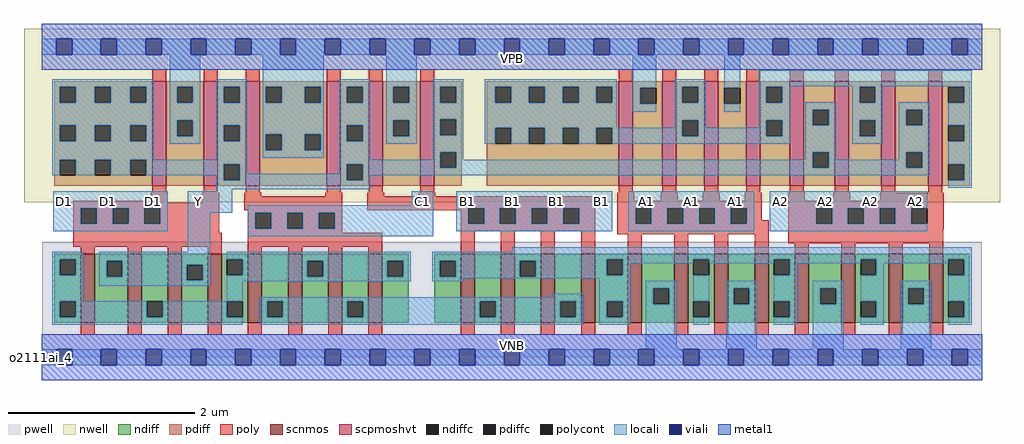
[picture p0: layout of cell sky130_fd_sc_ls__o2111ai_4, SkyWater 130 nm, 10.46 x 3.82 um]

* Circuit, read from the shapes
.subckt sky130_fd_sc_ls__o2111ai_4 A1 A2 B1 C1 D1 VGND VNB VPB VPWR Y
XM1 Y D1 n1 VNB sky130_fd_pr__nfet_01v8 w=0.74 l=0.15 m=4
XM2 n2 C1 n1 VNB sky130_fd_pr__nfet_01v8 w=0.74 l=0.15 m=4
XM3 n2 B1 n3 VNB sky130_fd_pr__nfet_01v8 w=0.74 l=0.15 m=4
XM4 VGND A1 n3 VNB sky130_fd_pr__nfet_01v8 w=0.74 l=0.15 m=4
XM5 VGND A2 n3 VNB sky130_fd_pr__nfet_01v8 w=0.74 l=0.15 m=4
XM6 VPWR D1 Y VPB sky130_fd_pr__pfet_01v8_hvt w=1.12 l=0.15 m=2
XM7 VPWR C1 Y VPB sky130_fd_pr__pfet_01v8_hvt w=1.12 l=0.15 m=2
XM8 VPWR B1 Y VPB sky130_fd_pr__pfet_01v8_hvt w=1.12 l=0.15 m=2
XM9 VPWR A1 n4 VPB sky130_fd_pr__pfet_01v8_hvt w=1.12 l=0.15 m=4
XM10 Y A2 n4 VPB sky130_fd_pr__pfet_01v8_hvt w=1.12 l=0.15 m=4
.ends

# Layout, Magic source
magic
tech sky130A
magscale 1 2
<< nwell >>
rect -38 332 2054 704
<< pwell >>
rect 1 49 2015 248
rect 0 0 2016 49
<< scnmos >>
rect 84 74 114 222
rect 184 74 214 222
rect 270 74 300 222
rect 356 74 386 222
rect 442 74 472 222
rect 528 74 558 222
rect 614 74 644 222
rect 700 74 730 222
rect 898 74 928 222
rect 984 74 1014 222
rect 1070 74 1100 222
rect 1156 74 1186 222
rect 1256 74 1286 222
rect 1356 74 1386 222
rect 1442 74 1472 222
rect 1528 74 1558 222
rect 1614 74 1644 222
rect 1714 74 1744 222
rect 1816 74 1846 222
rect 1902 74 1932 222
<< scpmoshvt >>
rect 237 368 267 592
rect 347 368 377 592
rect 437 368 467 592
rect 611 368 641 592
rect 701 368 731 592
rect 811 368 841 592
rect 1237 368 1267 592
rect 1330 368 1360 592
rect 1420 368 1450 592
rect 1510 368 1540 592
rect 1603 368 1633 592
rect 1700 368 1730 592
rect 1800 368 1830 592
rect 1900 368 1930 592
<< ndiff >>
rect 27 210 84 222
rect 27 176 39 210
rect 73 176 84 210
rect 27 120 84 176
rect 27 86 39 120
rect 73 86 84 120
rect 27 74 84 86
rect 114 207 184 222
rect 114 173 139 207
rect 173 173 184 207
rect 114 74 184 173
rect 214 120 270 222
rect 214 86 225 120
rect 259 86 270 120
rect 214 74 270 86
rect 300 199 356 222
rect 300 165 311 199
rect 345 165 356 199
rect 300 74 356 165
rect 386 210 442 222
rect 386 176 397 210
rect 431 176 442 210
rect 386 120 442 176
rect 386 86 397 120
rect 431 86 442 120
rect 386 74 442 86
rect 472 120 528 222
rect 472 86 483 120
rect 517 86 528 120
rect 472 74 528 86
rect 558 207 614 222
rect 558 173 569 207
rect 603 173 614 207
rect 558 74 614 173
rect 644 120 700 222
rect 644 86 655 120
rect 689 86 700 120
rect 644 74 700 86
rect 730 207 787 222
rect 730 173 741 207
rect 775 173 787 207
rect 730 74 787 173
rect 841 207 898 222
rect 841 173 853 207
rect 887 173 898 207
rect 841 74 898 173
rect 928 120 984 222
rect 928 86 939 120
rect 973 86 984 120
rect 928 74 984 86
rect 1014 207 1070 222
rect 1014 173 1025 207
rect 1059 173 1070 207
rect 1014 74 1070 173
rect 1100 120 1156 222
rect 1100 86 1111 120
rect 1145 86 1156 120
rect 1100 74 1156 86
rect 1186 210 1256 222
rect 1186 176 1211 210
rect 1245 176 1256 210
rect 1186 120 1256 176
rect 1186 86 1211 120
rect 1245 86 1256 120
rect 1186 74 1256 86
rect 1286 148 1356 222
rect 1286 114 1311 148
rect 1345 114 1356 148
rect 1286 74 1356 114
rect 1386 210 1442 222
rect 1386 176 1397 210
rect 1431 176 1442 210
rect 1386 120 1442 176
rect 1386 86 1397 120
rect 1431 86 1442 120
rect 1386 74 1442 86
rect 1472 148 1528 222
rect 1472 114 1483 148
rect 1517 114 1528 148
rect 1472 74 1528 114
rect 1558 210 1614 222
rect 1558 176 1569 210
rect 1603 176 1614 210
rect 1558 120 1614 176
rect 1558 86 1569 120
rect 1603 86 1614 120
rect 1558 74 1614 86
rect 1644 148 1714 222
rect 1644 114 1669 148
rect 1703 114 1714 148
rect 1644 74 1714 114
rect 1744 210 1816 222
rect 1744 176 1755 210
rect 1789 176 1816 210
rect 1744 120 1816 176
rect 1744 86 1755 120
rect 1789 86 1816 120
rect 1744 74 1816 86
rect 1846 148 1902 222
rect 1846 114 1857 148
rect 1891 114 1902 148
rect 1846 74 1902 114
rect 1932 210 1989 222
rect 1932 176 1943 210
rect 1977 176 1989 210
rect 1932 120 1989 176
rect 1932 86 1943 120
rect 1977 86 1989 120
rect 1932 74 1989 86
<< pdiff >>
rect 27 580 237 592
rect 27 546 39 580
rect 73 546 114 580
rect 148 546 190 580
rect 224 546 237 580
rect 27 497 237 546
rect 27 463 39 497
rect 73 463 114 497
rect 148 463 190 497
rect 224 463 237 497
rect 27 424 237 463
rect 27 390 39 424
rect 73 390 114 424
rect 148 390 190 424
rect 224 390 237 424
rect 27 368 237 390
rect 267 580 347 592
rect 267 546 290 580
rect 324 546 347 580
rect 267 508 347 546
rect 267 474 290 508
rect 324 474 347 508
rect 267 368 347 474
rect 377 580 437 592
rect 377 546 390 580
rect 424 546 437 580
rect 377 497 437 546
rect 377 463 390 497
rect 424 463 437 497
rect 377 414 437 463
rect 377 380 390 414
rect 424 380 437 414
rect 377 368 437 380
rect 467 580 611 592
rect 467 546 480 580
rect 514 546 564 580
rect 598 546 611 580
rect 467 478 611 546
rect 467 444 480 478
rect 514 444 564 478
rect 598 444 611 478
rect 467 368 611 444
rect 641 580 701 592
rect 641 546 654 580
rect 688 546 701 580
rect 641 497 701 546
rect 641 463 654 497
rect 688 463 701 497
rect 641 414 701 463
rect 641 380 654 414
rect 688 380 701 414
rect 641 368 701 380
rect 731 580 811 592
rect 731 546 754 580
rect 788 546 811 580
rect 731 508 811 546
rect 731 474 754 508
rect 788 474 811 508
rect 731 368 811 474
rect 841 580 900 592
rect 841 546 854 580
rect 888 546 900 580
rect 841 510 900 546
rect 841 476 854 510
rect 888 476 900 510
rect 841 440 900 476
rect 841 406 854 440
rect 888 406 900 440
rect 841 368 900 406
rect 954 580 1237 592
rect 954 546 972 580
rect 1006 546 1044 580
rect 1078 546 1117 580
rect 1151 546 1189 580
rect 1223 546 1237 580
rect 954 492 1237 546
rect 954 458 972 492
rect 1006 458 1044 492
rect 1078 458 1117 492
rect 1151 458 1189 492
rect 1223 458 1237 492
rect 954 368 1237 458
rect 1267 578 1330 592
rect 1267 544 1283 578
rect 1317 544 1330 578
rect 1267 368 1330 544
rect 1360 580 1420 592
rect 1360 546 1373 580
rect 1407 546 1420 580
rect 1360 508 1420 546
rect 1360 474 1373 508
rect 1407 474 1420 508
rect 1360 368 1420 474
rect 1450 578 1510 592
rect 1450 544 1463 578
rect 1497 544 1510 578
rect 1450 368 1510 544
rect 1540 580 1603 592
rect 1540 546 1553 580
rect 1587 546 1603 580
rect 1540 508 1603 546
rect 1540 474 1553 508
rect 1587 474 1603 508
rect 1540 368 1603 474
rect 1633 531 1700 592
rect 1633 497 1653 531
rect 1687 497 1700 531
rect 1633 440 1700 497
rect 1633 406 1653 440
rect 1687 406 1700 440
rect 1633 368 1700 406
rect 1730 580 1800 592
rect 1730 546 1753 580
rect 1787 546 1800 580
rect 1730 508 1800 546
rect 1730 474 1753 508
rect 1787 474 1800 508
rect 1730 368 1800 474
rect 1830 531 1900 592
rect 1830 497 1853 531
rect 1887 497 1900 531
rect 1830 440 1900 497
rect 1830 406 1853 440
rect 1887 406 1900 440
rect 1830 368 1900 406
rect 1930 580 1989 592
rect 1930 546 1943 580
rect 1977 546 1989 580
rect 1930 497 1989 546
rect 1930 463 1943 497
rect 1977 463 1989 497
rect 1930 414 1989 463
rect 1930 380 1943 414
rect 1977 380 1989 414
rect 1930 368 1989 380
<< ndiffc >>
rect 39 176 73 210
rect 39 86 73 120
rect 139 173 173 207
rect 225 86 259 120
rect 311 165 345 199
rect 397 176 431 210
rect 397 86 431 120
rect 483 86 517 120
rect 569 173 603 207
rect 655 86 689 120
rect 741 173 775 207
rect 853 173 887 207
rect 939 86 973 120
rect 1025 173 1059 207
rect 1111 86 1145 120
rect 1211 176 1245 210
rect 1211 86 1245 120
rect 1311 114 1345 148
rect 1397 176 1431 210
rect 1397 86 1431 120
rect 1483 114 1517 148
rect 1569 176 1603 210
rect 1569 86 1603 120
rect 1669 114 1703 148
rect 1755 176 1789 210
rect 1755 86 1789 120
rect 1857 114 1891 148
rect 1943 176 1977 210
rect 1943 86 1977 120
<< pdiffc >>
rect 39 546 73 580
rect 114 546 148 580
rect 190 546 224 580
rect 39 463 73 497
rect 114 463 148 497
rect 190 463 224 497
rect 39 390 73 424
rect 114 390 148 424
rect 190 390 224 424
rect 290 546 324 580
rect 290 474 324 508
rect 390 546 424 580
rect 390 463 424 497
rect 390 380 424 414
rect 480 546 514 580
rect 564 546 598 580
rect 480 444 514 478
rect 564 444 598 478
rect 654 546 688 580
rect 654 463 688 497
rect 654 380 688 414
rect 754 546 788 580
rect 754 474 788 508
rect 854 546 888 580
rect 854 476 888 510
rect 854 406 888 440
rect 972 546 1006 580
rect 1044 546 1078 580
rect 1117 546 1151 580
rect 1189 546 1223 580
rect 972 458 1006 492
rect 1044 458 1078 492
rect 1117 458 1151 492
rect 1189 458 1223 492
rect 1283 544 1317 578
rect 1373 546 1407 580
rect 1373 474 1407 508
rect 1463 544 1497 578
rect 1553 546 1587 580
rect 1553 474 1587 508
rect 1653 497 1687 531
rect 1653 406 1687 440
rect 1753 546 1787 580
rect 1753 474 1787 508
rect 1853 497 1887 531
rect 1853 406 1887 440
rect 1943 546 1977 580
rect 1943 463 1977 497
rect 1943 380 1977 414
<< poly >>
rect 237 592 267 618
rect 347 592 377 618
rect 437 592 467 618
rect 611 592 641 618
rect 701 592 731 618
rect 811 592 841 618
rect 1237 592 1267 618
rect 1330 592 1360 618
rect 1420 592 1450 618
rect 1510 592 1540 618
rect 1603 592 1633 618
rect 1700 592 1730 618
rect 1800 592 1830 618
rect 1900 592 1930 618
rect 237 353 267 368
rect 347 353 377 368
rect 437 353 467 368
rect 611 353 641 368
rect 701 353 731 368
rect 811 353 841 368
rect 1237 353 1267 368
rect 1330 353 1360 368
rect 1420 353 1450 368
rect 1510 353 1540 368
rect 1603 353 1633 368
rect 1700 353 1730 368
rect 1800 353 1830 368
rect 1900 353 1930 368
rect 234 336 270 353
rect 68 331 270 336
rect 344 331 380 353
rect 68 320 380 331
rect 68 286 84 320
rect 118 286 152 320
rect 186 286 220 320
rect 254 286 380 320
rect 434 345 470 353
rect 608 345 644 353
rect 434 315 644 345
rect 698 345 734 353
rect 808 345 844 353
rect 698 320 1186 345
rect 698 315 914 320
rect 68 267 380 286
rect 442 310 644 315
rect 442 276 458 310
rect 492 276 526 310
rect 560 276 594 310
rect 628 276 644 310
rect 442 267 644 276
rect 898 286 914 315
rect 948 286 982 320
rect 1016 286 1050 320
rect 1084 286 1118 320
rect 1152 286 1186 320
rect 898 270 1186 286
rect 68 237 386 267
rect 84 222 114 237
rect 184 222 214 237
rect 270 222 300 237
rect 356 222 386 237
rect 442 237 730 267
rect 442 222 472 237
rect 528 222 558 237
rect 614 222 644 237
rect 700 222 730 237
rect 898 222 928 270
rect 984 222 1014 270
rect 1070 222 1100 270
rect 1156 222 1186 270
rect 1234 336 1270 353
rect 1327 336 1363 353
rect 1417 336 1453 353
rect 1507 336 1543 353
rect 1234 320 1543 336
rect 1234 286 1273 320
rect 1307 286 1341 320
rect 1375 286 1409 320
rect 1443 286 1477 320
rect 1511 294 1543 320
rect 1600 336 1636 353
rect 1697 336 1733 353
rect 1797 336 1933 353
rect 1600 320 1933 336
rect 1511 286 1558 294
rect 1234 264 1558 286
rect 1256 222 1286 264
rect 1356 222 1386 264
rect 1442 222 1472 264
rect 1528 222 1558 264
rect 1600 286 1660 320
rect 1694 286 1728 320
rect 1762 286 1796 320
rect 1830 286 1864 320
rect 1898 286 1933 320
rect 1600 275 1933 286
rect 1600 245 1932 275
rect 1614 222 1644 245
rect 1714 222 1744 245
rect 1816 222 1846 245
rect 1902 222 1932 245
rect 84 48 114 74
rect 184 48 214 74
rect 270 48 300 74
rect 356 48 386 74
rect 442 48 472 74
rect 528 48 558 74
rect 614 48 644 74
rect 700 48 730 74
rect 898 48 928 74
rect 984 48 1014 74
rect 1070 48 1100 74
rect 1156 48 1186 74
rect 1256 48 1286 74
rect 1356 48 1386 74
rect 1442 48 1472 74
rect 1528 48 1558 74
rect 1614 48 1644 74
rect 1714 48 1744 74
rect 1816 48 1846 74
rect 1902 48 1932 74
<< polycont >>
rect 84 286 118 320
rect 152 286 186 320
rect 220 286 254 320
rect 458 276 492 310
rect 526 276 560 310
rect 594 276 628 310
rect 914 286 948 320
rect 982 286 1016 320
rect 1050 286 1084 320
rect 1118 286 1152 320
rect 1273 286 1307 320
rect 1341 286 1375 320
rect 1409 286 1443 320
rect 1477 286 1511 320
rect 1660 286 1694 320
rect 1728 286 1762 320
rect 1796 286 1830 320
rect 1864 286 1898 320
<< locali >>
rect 0 649 31 683
rect 65 649 127 683
rect 161 649 223 683
rect 257 649 319 683
rect 353 649 415 683
rect 449 649 511 683
rect 545 649 607 683
rect 641 649 703 683
rect 737 649 799 683
rect 833 649 895 683
rect 929 649 991 683
rect 1025 649 1087 683
rect 1121 649 1183 683
rect 1217 649 1279 683
rect 1313 649 1375 683
rect 1409 649 1471 683
rect 1505 649 1567 683
rect 1601 649 1663 683
rect 1697 649 1759 683
rect 1793 649 1855 683
rect 1889 649 1951 683
rect 1985 649 2016 683
rect 23 580 240 596
rect 23 546 39 580
rect 73 546 114 580
rect 148 546 190 580
rect 224 546 240 580
rect 23 497 240 546
rect 23 463 39 497
rect 73 463 114 497
rect 148 463 190 497
rect 224 463 240 497
rect 23 424 240 463
rect 274 580 340 649
rect 274 546 290 580
rect 324 546 340 580
rect 274 508 340 546
rect 274 474 290 508
rect 324 474 340 508
rect 274 458 340 474
rect 374 580 440 596
rect 374 546 390 580
rect 424 546 440 580
rect 374 497 440 546
rect 374 463 390 497
rect 424 463 440 497
rect 374 424 440 463
rect 474 580 604 649
rect 474 546 480 580
rect 514 546 564 580
rect 598 546 604 580
rect 474 478 604 546
rect 474 444 480 478
rect 514 444 564 478
rect 598 444 604 478
rect 474 428 604 444
rect 638 580 704 596
rect 638 546 654 580
rect 688 546 704 580
rect 638 497 704 546
rect 638 463 654 497
rect 688 463 704 497
rect 23 390 39 424
rect 73 390 114 424
rect 148 390 190 424
rect 224 414 440 424
rect 224 390 390 414
rect 374 380 390 390
rect 424 394 440 414
rect 638 424 704 463
rect 738 580 804 649
rect 738 546 754 580
rect 788 546 804 580
rect 738 508 804 546
rect 738 474 754 508
rect 788 474 804 508
rect 738 458 804 474
rect 838 580 904 596
rect 838 546 854 580
rect 888 546 904 580
rect 838 510 904 546
rect 838 476 854 510
rect 888 476 904 510
rect 838 440 904 476
rect 950 580 1233 596
rect 950 546 972 580
rect 1006 546 1044 580
rect 1078 546 1117 580
rect 1151 546 1189 580
rect 1223 546 1233 580
rect 950 492 1233 546
rect 1267 578 1317 649
rect 1267 544 1283 578
rect 1267 526 1317 544
rect 1357 580 1423 596
rect 1357 546 1373 580
rect 1407 546 1423 580
rect 1357 508 1423 546
rect 1463 578 1497 649
rect 1463 526 1497 544
rect 1537 581 1993 615
rect 1537 580 1603 581
rect 1537 546 1553 580
rect 1587 546 1603 580
rect 1737 580 1803 581
rect 1357 492 1373 508
rect 950 458 972 492
rect 1006 458 1044 492
rect 1078 458 1117 492
rect 1151 458 1189 492
rect 1223 474 1373 492
rect 1407 492 1423 508
rect 1537 508 1603 546
rect 1537 492 1553 508
rect 1407 474 1553 492
rect 1587 474 1603 508
rect 1223 458 1603 474
rect 1637 531 1703 547
rect 1637 497 1653 531
rect 1687 497 1703 531
rect 838 424 854 440
rect 638 414 854 424
rect 638 394 654 414
rect 424 380 654 394
rect 688 406 854 414
rect 888 424 904 440
rect 1637 440 1703 497
rect 1737 546 1753 580
rect 1787 546 1803 580
rect 1943 580 1993 581
rect 1737 508 1803 546
rect 1737 474 1753 508
rect 1787 474 1803 508
rect 1737 458 1803 474
rect 1837 531 1903 547
rect 1837 497 1853 531
rect 1887 497 1903 531
rect 1637 424 1653 440
rect 888 406 1653 424
rect 1687 424 1703 440
rect 1837 440 1903 497
rect 1837 424 1853 440
rect 1687 406 1853 424
rect 1887 406 1903 440
rect 688 390 1903 406
rect 1977 546 1993 580
rect 1943 497 1993 546
rect 1977 463 1993 497
rect 1943 414 1993 463
rect 688 380 704 390
rect 374 360 704 380
rect 1977 380 1993 414
rect 1943 364 1993 380
rect 374 356 408 360
rect 25 320 270 356
rect 25 286 84 320
rect 118 286 152 320
rect 186 286 220 320
rect 254 286 270 320
rect 25 270 270 286
rect 313 310 408 356
rect 793 326 839 356
rect 442 310 839 326
rect 313 226 361 310
rect 442 276 458 310
rect 492 276 526 310
rect 560 276 594 310
rect 628 276 839 310
rect 442 260 839 276
rect 889 320 1223 356
rect 889 286 914 320
rect 948 286 982 320
rect 1016 286 1050 320
rect 1084 286 1118 320
rect 1152 286 1223 320
rect 889 270 1223 286
rect 1257 320 1527 356
rect 1257 286 1273 320
rect 1307 286 1341 320
rect 1375 286 1409 320
rect 1443 286 1477 320
rect 1511 286 1527 320
rect 1257 270 1527 286
rect 1561 320 1898 356
rect 1561 286 1660 320
rect 1694 286 1728 320
rect 1762 286 1796 320
rect 1830 286 1864 320
rect 1561 270 1898 286
rect 1009 226 1993 236
rect 23 210 89 226
rect 23 176 39 210
rect 73 176 89 210
rect 23 120 89 176
rect 123 207 361 226
rect 123 173 139 207
rect 173 199 361 207
rect 173 173 311 199
rect 123 165 311 173
rect 345 165 361 199
rect 123 154 361 165
rect 397 210 791 226
rect 431 207 791 210
rect 431 176 569 207
rect 397 173 569 176
rect 603 173 741 207
rect 775 173 791 207
rect 397 163 791 173
rect 837 210 1993 226
rect 837 207 1211 210
rect 837 173 853 207
rect 887 173 1025 207
rect 1059 176 1211 207
rect 1245 202 1397 210
rect 1245 176 1261 202
rect 1059 173 1261 176
rect 837 170 1261 173
rect 837 163 903 170
rect 397 120 431 163
rect 1095 129 1161 136
rect 23 86 39 120
rect 73 86 225 120
rect 259 86 397 120
rect 23 70 431 86
rect 467 120 1161 129
rect 467 86 483 120
rect 517 86 655 120
rect 689 86 939 120
rect 973 86 1111 120
rect 1145 86 1161 120
rect 467 70 1161 86
rect 1195 120 1261 170
rect 1431 202 1569 210
rect 1195 86 1211 120
rect 1245 86 1261 120
rect 1195 70 1261 86
rect 1295 148 1361 164
rect 1295 114 1311 148
rect 1345 114 1361 148
rect 1295 17 1361 114
rect 1397 120 1431 176
rect 1603 202 1755 210
rect 1603 176 1619 202
rect 1397 70 1431 86
rect 1467 148 1533 164
rect 1467 114 1483 148
rect 1517 114 1533 148
rect 1467 17 1533 114
rect 1569 120 1619 176
rect 1789 202 1943 210
rect 1789 176 1805 202
rect 1603 86 1619 120
rect 1569 70 1619 86
rect 1653 148 1719 164
rect 1653 114 1669 148
rect 1703 114 1719 148
rect 1653 17 1719 114
rect 1755 120 1805 176
rect 1977 176 1993 210
rect 1789 86 1805 120
rect 1755 70 1805 86
rect 1841 148 1907 164
rect 1841 114 1857 148
rect 1891 114 1907 148
rect 1841 17 1907 114
rect 1943 120 1993 176
rect 1977 86 1993 120
rect 1943 70 1993 86
rect 0 -17 31 17
rect 65 -17 127 17
rect 161 -17 223 17
rect 257 -17 319 17
rect 353 -17 415 17
rect 449 -17 511 17
rect 545 -17 607 17
rect 641 -17 703 17
rect 737 -17 799 17
rect 833 -17 895 17
rect 929 -17 991 17
rect 1025 -17 1087 17
rect 1121 -17 1183 17
rect 1217 -17 1279 17
rect 1313 -17 1375 17
rect 1409 -17 1471 17
rect 1505 -17 1567 17
rect 1601 -17 1663 17
rect 1697 -17 1759 17
rect 1793 -17 1855 17
rect 1889 -17 1951 17
rect 1985 -17 2016 17
<< viali >>
rect 31 649 65 683
rect 127 649 161 683
rect 223 649 257 683
rect 319 649 353 683
rect 415 649 449 683
rect 511 649 545 683
rect 607 649 641 683
rect 703 649 737 683
rect 799 649 833 683
rect 895 649 929 683
rect 991 649 1025 683
rect 1087 649 1121 683
rect 1183 649 1217 683
rect 1279 649 1313 683
rect 1375 649 1409 683
rect 1471 649 1505 683
rect 1567 649 1601 683
rect 1663 649 1697 683
rect 1759 649 1793 683
rect 1855 649 1889 683
rect 1951 649 1985 683
rect 31 -17 65 17
rect 127 -17 161 17
rect 223 -17 257 17
rect 319 -17 353 17
rect 415 -17 449 17
rect 511 -17 545 17
rect 607 -17 641 17
rect 703 -17 737 17
rect 799 -17 833 17
rect 895 -17 929 17
rect 991 -17 1025 17
rect 1087 -17 1121 17
rect 1183 -17 1217 17
rect 1279 -17 1313 17
rect 1375 -17 1409 17
rect 1471 -17 1505 17
rect 1567 -17 1601 17
rect 1663 -17 1697 17
rect 1759 -17 1793 17
rect 1855 -17 1889 17
rect 1951 -17 1985 17
<< metal1 >>
rect 0 683 2016 715
rect 0 649 31 683
rect 65 649 127 683
rect 161 649 223 683
rect 257 649 319 683
rect 353 649 415 683
rect 449 649 511 683
rect 545 649 607 683
rect 641 649 703 683
rect 737 649 799 683
rect 833 649 895 683
rect 929 649 991 683
rect 1025 649 1087 683
rect 1121 649 1183 683
rect 1217 649 1279 683
rect 1313 649 1375 683
rect 1409 649 1471 683
rect 1505 649 1567 683
rect 1601 649 1663 683
rect 1697 649 1759 683
rect 1793 649 1855 683
rect 1889 649 1951 683
rect 1985 649 2016 683
rect 0 617 2016 649
rect 0 17 2016 49
rect 0 -17 31 17
rect 65 -17 127 17
rect 161 -17 223 17
rect 257 -17 319 17
rect 353 -17 415 17
rect 449 -17 511 17
rect 545 -17 607 17
rect 641 -17 703 17
rect 737 -17 799 17
rect 833 -17 895 17
rect 929 -17 991 17
rect 1025 -17 1087 17
rect 1121 -17 1183 17
rect 1217 -17 1279 17
rect 1313 -17 1375 17
rect 1409 -17 1471 17
rect 1505 -17 1567 17
rect 1601 -17 1663 17
rect 1697 -17 1759 17
rect 1793 -17 1855 17
rect 1889 -17 1951 17
rect 1985 -17 2016 17
rect 0 -49 2016 -17
<< labels >>
rlabel comment s 0 0 0 0 4 o2111ai_4
flabel pwell s 0 0 2016 49 0 FreeSans 200 0 0 0 VNB
port 7 nsew ground bidirectional
flabel nwell s 0 617 2016 666 0 FreeSans 200 0 0 0 VPB
port 8 nsew power bidirectional
flabel metal1 s 0 617 2016 666 0 FreeSans 340 0 0 0 VPWR
port 9 nsew power bidirectional abutment
flabel metal1 s 0 0 2016 49 0 FreeSans 340 0 0 0 VGND
port 6 nsew ground bidirectional abutment
flabel locali s 319 316 353 350 0 FreeSans 340 0 0 0 Y
port 10 nsew signal output
flabel locali s 895 316 929 350 0 FreeSans 340 0 0 0 B1
port 3 nsew signal input
flabel locali s 991 316 1025 350 0 FreeSans 340 0 0 0 B1
port 3 nsew signal input
flabel locali s 1087 316 1121 350 0 FreeSans 340 0 0 0 B1
port 3 nsew signal input
flabel locali s 1183 316 1217 350 0 FreeSans 340 0 0 0 B1
port 3 nsew signal input
flabel locali s 1279 316 1313 350 0 FreeSans 340 0 0 0 A1
port 1 nsew signal input
flabel locali s 1375 316 1409 350 0 FreeSans 340 0 0 0 A1
port 1 nsew signal input
flabel locali s 1471 316 1505 350 0 FreeSans 340 0 0 0 A1
port 1 nsew signal input
flabel locali s 1567 316 1601 350 0 FreeSans 340 0 0 0 A2
port 2 nsew signal input
flabel locali s 1663 316 1697 350 0 FreeSans 340 0 0 0 A2
port 2 nsew signal input
flabel locali s 1759 316 1793 350 0 FreeSans 340 0 0 0 A2
port 2 nsew signal input
flabel locali s 1855 316 1889 350 0 FreeSans 340 0 0 0 A2
port 2 nsew signal input
flabel locali s 799 316 833 350 0 FreeSans 340 0 0 0 C1
port 4 nsew signal input
flabel locali s 31 316 65 350 0 FreeSans 340 0 0 0 D1
port 5 nsew signal input
flabel locali s 127 316 161 350 0 FreeSans 340 0 0 0 D1
port 5 nsew signal input
flabel locali s 223 316 257 350 0 FreeSans 340 0 0 0 D1
port 5 nsew signal input
<< properties >>
string LEFsite unit
string LEFclass CORE
string FIXED_BBOX 0 0 2016 666
string GDS_FILE $PDKPATH/libs.ref/sky130_fd_sc_ls/gds/sky130_fd_sc_ls.gds
string LEFsymmetry X Y
string GDS_END 2527176
string GDS_START 2511416
<< end >>
